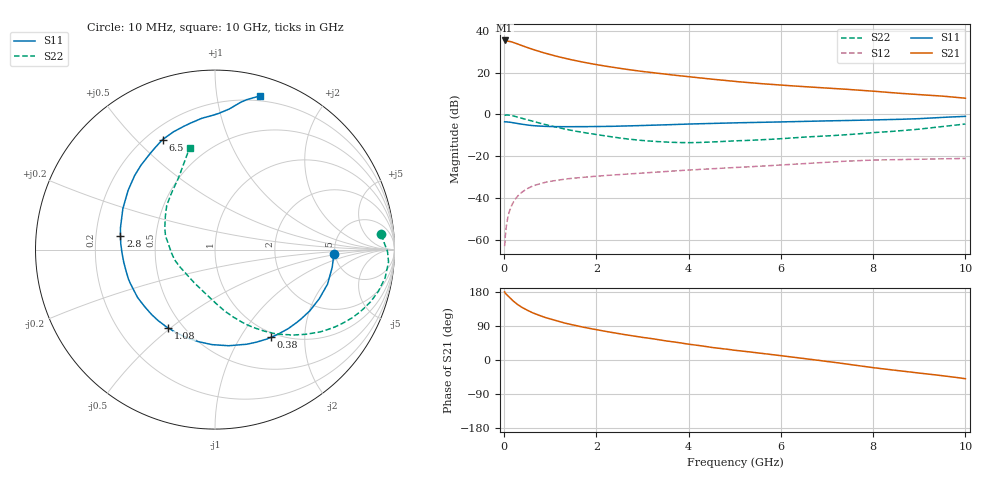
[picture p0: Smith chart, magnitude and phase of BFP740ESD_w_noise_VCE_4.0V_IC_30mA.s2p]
! Infineon Technologies  Discrete & RF Semiconductors
! BFP740ESD
! VCE =  4.0 V,  IC =  30 mA
! Common Emitter S-Parameters:  Jan 2016
# GHz  S  MA  R  50
!  f  S11  S21  S12  S22
! GHz  MAG  ANG  MAG  ANG  MAG  ANG  MAG  ANG
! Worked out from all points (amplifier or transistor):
!   233 points, 10 MHz to 10 GHz, reference 50 ohm
!   highest |S21| = 35.3 dB at 10 MHz (marker M1)
!   |S21| within 3 dB of that: start of sweep to 453.5 MHz
!   unconditionally stable (mu >= 1): start of sweep to 10.83 MHz; 4.218 GHz to 6.785 GHz
!   at 200 MHz: K = 0.24, MSG = 38.2 dB, |S12| = -42.0 dB
!   at 1.74 GHz: K = 0.68, MSG = 27.5 dB, |S12| = -30.1 dB
!   at 10 GHz: K = 0.72, MSG = 14.4 dB, |S12| = -21.1 dB
!   lowest NFmin = 0.96 dB at 450 MHz
!   S11 on the Smith chart (normalised r, x): 10 MHz: 4.87, -0.40; 380 MHz: 0.93, -1.37; 1.08 GHz: 0.42, -0.49; 2.8 GHz: 0.31, +0.06; 6.5 GHz: 0.26, +0.60; 10 GHz: 0.16, +1.32
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0.01  0.6613 -2.0  58.47 179.9  0.0007 86.3  0.9296 5.2
0.02  0.6616 -3.4  57.62 176.8  0.001 64.2  0.9617 -0.8
0.085  0.6557 -14.5  56.45 168.7  0.0036 76.0  0.9624 -7.9
0.15  0.6421 -25.3  54.52 160.8  0.0061 74.1  0.9393 -14.4
0.19  0.6303 -31.4  52.81 156.4  0.0075 72.4  0.9179 -17.8
0.3  0.6003 -47.2  47.83 145.7  0.0113 67.0  0.854 -26.4
0.38  0.5795 -57.4  44.31 139.5  0.0135 63.6  0.8066 -31.5
0.5  0.556 -71.5  39.67 131.4  0.0166 59.0  0.7403 -38.4
0.6  0.5409 -82.0  36.34 125.5  0.0188 55.6  0.6896 -43.2
0.7  0.5297 -91.7  33.5 120.6  0.0206 52.7  0.6445 -47.6
0.9  0.5153 -108.3  28.79 111.8  0.0237 47.8  0.5661 -55.4
1.08  0.5082 -121.1  25.41 105.2  0.0258 44.5  0.5068 -61.3
1.32  0.5051 -135.3  21.87 97.3  0.0281 41.3  0.4431 -68.3
1.68  0.506 -152.1  17.99 87.5  0.0309 38.2  0.3734 -76.9
2.2  0.5128 -171.0  14.18 75.5  0.0343 35.6  0.3035 -88.3
2.8  0.5319 171.9  11.31 63.4  0.038 33.8  0.2478 -103.3
3.4  0.5559 158.2  9.381 52.6  0.042 32.2  0.2202 -119.6
5.1  0.628 130.1  5.99 24.4  0.0539 26.3  0.2335 -167.7
6.5  0.6792 115.5  4.598 3.9  0.0662 20.3  0.2859 164.7
6.8  0.6884 111.7  4.378 -0.6  0.0693 18.3  0.296 159.9
8.4  0.7492 90.7  3.293 -26.0  0.0819 4.1  0.3897 129.6
10  0.8927 73.6  2.427 -49.4  0.088 -8.4  0.586 104.0
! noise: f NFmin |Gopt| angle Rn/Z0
0.45  0.96  0.14  -174  0.18
0.9  1.01  0.16  -162  0.09
1.9  1.03  0.19  -150  0.11
2.4  1.09  0.22  -136  0.12
5.5  1.24  0.37  -113  0.14
10  1.81  0.58  -83  0.65
